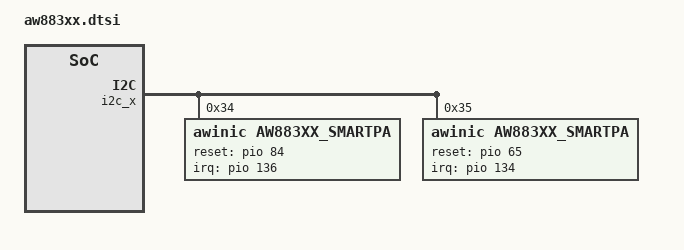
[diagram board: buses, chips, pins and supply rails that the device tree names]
/* AWINIC AW883XX Smart PA mono*/
&i2c_x {
	aw883xx_smartpa@34 {
		compatible = "awinic,aw883xx_smartpa";
		reg = <0x34>;
		reset-gpio = <&pio 84 0>;
		irq-gpio = <&pio 136 0>;
		re-min = <1000>;
		re-max= <40000>;
		status = "okay";
	};
};
/* AWINIC AW883XX Smart PA mono End*/

/* AWINIC AW883XX Smart PA stereo*/
&i2c_x {
	aw883xx_smartpa@34 {
		compatible = "awinic,aw883xx_smartpa";
		reg = <0x34>;
		reset-gpio = <&pio 84 0>;
		irq-gpio = <&pio 136 0>;
		sound-channel = <0>;
		re-min = <1000>;
		re-max= <40000>;
		status = "okay";
	};
	aw883xx_smartpa@35 {
		compatible = "awinic,aw883xx_smartpa";
		reg = <0x35>;
		reset-gpio = <&pio 65 0>;
		irq-gpio = <&pio 134 0>;
		sound-channel = <1>;
		re-min = <1000>;
		re-max= <40000>;
		status = "okay";
	};
};
/* AWINIC AW883XX Smart PA stereo End */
